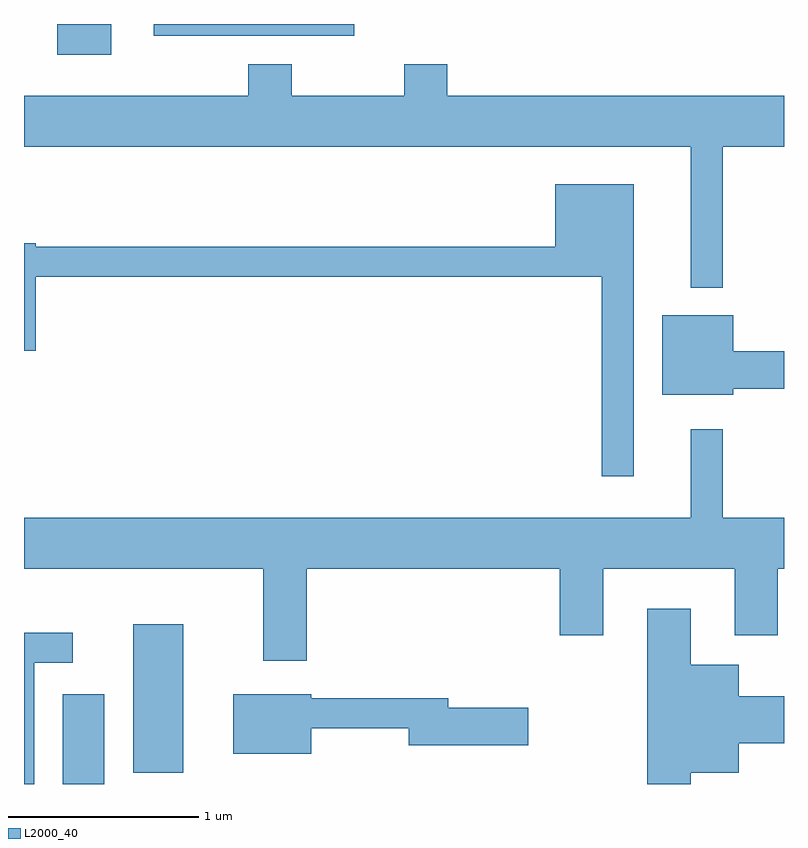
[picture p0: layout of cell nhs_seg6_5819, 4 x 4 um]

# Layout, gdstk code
import gdstk
lib = gdstk.Library(unit=1e-6, precision=1e-09)
def R(c, l, rs):  # rectangles x0, y0, x1, y1
    for r in rs: c.add(gdstk.rectangle(r[:2], r[2:], *l))
def P(c, l, *ps):  # polygons
    for p in ps: c.add(gdstk.Polygon(p, *l))
L2000_40 = (2000, 40)

nhs_seg6_5819 = lib.new_cell('nhs_seg6_5819')
R(nhs_seg6_5819, L2000_40, [(361.816,1622.162,362.034,1622.634), (362.186,1622.221,362.449,1623.004), (361.786,1626.001,362.069,1626.162), (362.293,1626.101,363.349,1626.162)])
P(nhs_seg6_5819, L2000_40, [(363.611,1625.949),(363.611,1625.784),(363.019,1625.784),(363.019,1625.949),(362.791,1625.949),(362.791,1625.784),(361.611,1625.784),(361.611,1625.516),(365.121,1625.516),(365.121,1624.773),(365.289,1624.773),(365.289,1625.516),(365.611,1625.516),(365.611,1625.784),(363.839,1625.784),(363.839,1625.949)],
  [(364.819,1625.319),(364.406,1625.319),(364.406,1624.989),(361.674,1624.989),(361.674,1625.009),(361.611,1625.009),(361.611,1624.441),(361.674,1624.441),(361.674,1624.831),(364.651,1624.831),(364.651,1623.783),(364.819,1623.783)],
  [(365.344,1624.241),(365.611,1624.241),(365.611,1624.439),(365.344,1624.439),(365.344,1624.629),(364.971,1624.629),(364.971,1624.211),(365.344,1624.211)],
  [(363.099,1623.296),(364.431,1623.296),(364.431,1622.946),(364.659,1622.946),(364.659,1623.296),(365.351,1623.296),(365.351,1622.946),(365.579,1622.946),(365.579,1623.296),(365.611,1623.296),(365.611,1623.564),(365.289,1623.564),(365.289,1624.028),(365.121,1624.028),(365.121,1623.564),(361.611,1623.564),(361.611,1623.296),(362.871,1623.296),(362.871,1622.811),(363.099,1622.811)],
  [(365.119,1622.221),(365.374,1622.221),(365.374,1622.376),(365.611,1622.376),(365.611,1622.624),(365.374,1622.624),(365.374,1622.789),(365.119,1622.789),(365.119,1623.084),(364.891,1623.084),(364.891,1622.162),(365.119,1622.162)],
  [(361.664,1622.801),(361.868,1622.801),(361.868,1622.959),(361.611,1622.959),(361.611,1622.162),(361.664,1622.162)],
  [(363.124,1622.456),(363.636,1622.456),(363.636,1622.366),(364.264,1622.366),(364.264,1622.564),(363.844,1622.564),(363.844,1622.614),(363.124,1622.614),(363.124,1622.634),(362.711,1622.634),(362.711,1622.321),(363.124,1622.321)])

lib.write_gds('nhs_seg6_5819.gds')
